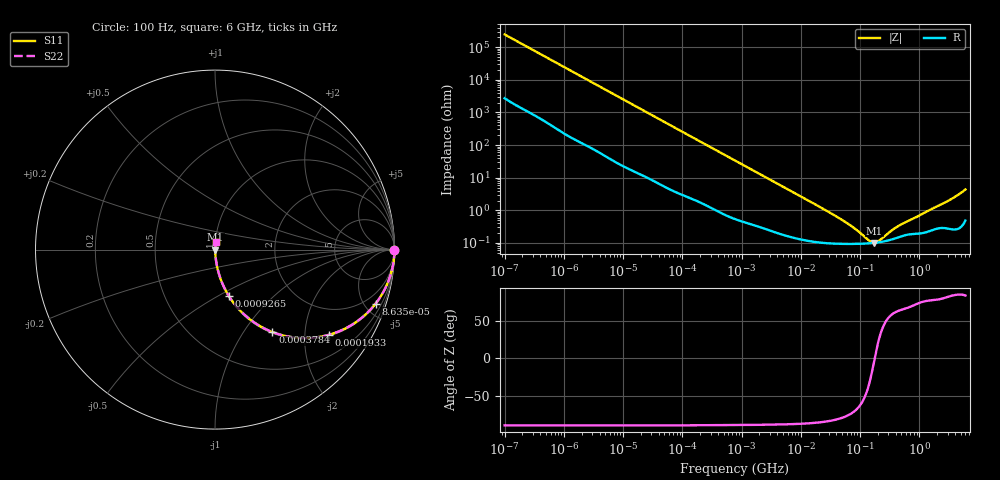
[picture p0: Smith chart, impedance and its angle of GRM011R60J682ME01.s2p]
!Murata Part Number: GRM011R60J682ME01
!These Parameters are Measured in Series Mode Connection
!Data Generated on Mar 30, 2021
!  o--ll--o
!Port1  Port2
!  o------o
!Operation Temp=25[degC], DC Bias Voltage=0[V]
!Freq. Start=100[Hz] Stop=6[GHz] 401[Steps]
# Hz S RI R 50
!Freq.(Hz) S11(Real) S11(Imag) S21(Real) S21(Imag) S12(Real) S12(Imag) S22(Real) S22(Imag)
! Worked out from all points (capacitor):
!   401 points, 100 Hz to 6 GHz, reference 50 ohm
!   read as one part in series: C = 6.48 nF near 109 Hz
!   lowest |Z| = 101 mohm at 174.6 MHz (marker M1)
!   series resonance near 176.9 MHz, so ESL is about 120 pH
!   S11 on the Smith chart (normalised r, x): 100 Hz: open; 86.35 kHz: 1.07, -5.91; 193.3 kHz: 1.04, -2.66; 378.4 kHz: 1.02, -1.37; 926.5 kHz: 1.01, -0.56; 6 GHz: 1.01, +0.09
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100  1 -0.000408  4.7e-06 0.000408  4.7e-06 0.000408  1 -0.000408
2008  0.9999 -0.00805  0.000139 0.00805  0.000139 0.00805  0.9999 -0.00805
12592  0.9971 -0.0498  0.00294 0.0498  0.00294 0.0498  0.9971 -0.0498
40335  0.9739 -0.1544  0.0261 0.1544  0.0261 0.1544  0.9739 -0.1544
86348  0.8946 -0.3016  0.1054 0.3016  0.1054 0.3016  0.8946 -0.3016
129199  0.7939 -0.3984  0.2061 0.3984  0.2061 0.3984  0.7939 -0.3984
193316  0.6364 -0.4743  0.3636 0.4743  0.3636 0.4743  0.6364 -0.4743
264476  0.4869 -0.4929  0.5131 0.4929  0.5131 0.4929  0.4869 -0.4929
378399  0.3203 -0.4595  0.6797 0.4595  0.6797 0.4595  0.3203 -0.4595
774597  0.1048 -0.2984  0.8952 0.2984  0.8952 0.2984  0.1048 -0.2984
926525  0.0768 -0.2578  0.9232 0.2578  0.9232 0.2578  0.0768 -0.2578
2967816  0.0102 -0.0876  0.9898 0.0876  0.9898 0.0876  0.0102 -0.0876
1.555665e7  0.00139 -0.0171  0.9986 0.0171  0.9986 0.0171  0.00139 -0.0171
5.449875e7  0.000956 -0.00447  0.999 0.00447  0.999 0.00447  0.000956 -0.00447
8.527865e7  0.000943 -0.00242  0.9991 0.00242  0.9991 0.00242  0.000943 -0.00242
1.459435e8  0.000978 -0.000585  0.999 0.000585  0.999 0.000585  0.000978 -0.000585
1.745687e8  0.00101 -3.98e-05  0.999 3.98e-05  0.999 3.98e-05  0.00101 -3.98e-05
2.088084e8  0.00105 0.0005  0.999 -0.0005  0.999 -0.0005  0.00105 0.0005
3.124326e8  0.00122 0.00176  0.9988 -0.00176  0.9988 -0.00176  0.00122 0.00176
4.888888e8  0.00159 0.00329  0.9984 -0.00329  0.9984 -0.00329  0.00159 0.00329
2.931063e9  0.00312 0.0183  0.9969 -0.0183  0.9969 -0.0183  0.00312 0.0183
6e9  0.00668 0.0426  0.9933 -0.0426  0.9933 -0.0426  0.00668 0.0426
